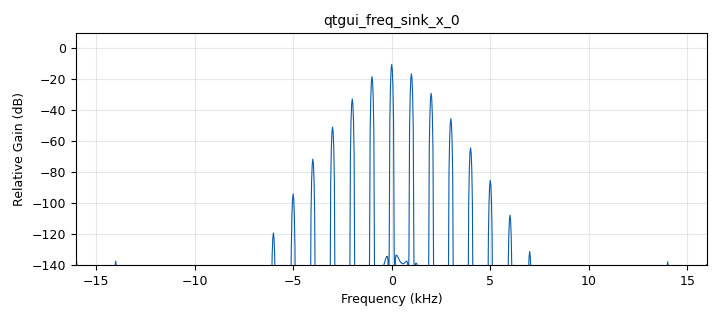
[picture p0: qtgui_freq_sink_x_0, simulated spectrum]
<?xml version='1.0' encoding='utf-8'?>
<?grc format='1' created='3.7.10'?>
<flow_graph>
<block>
<key>options</key>
<param><key>id</key><value>am_fm</value></param>
<param><key>generate_options</key><value>qt_gui</value></param>
</block>
<block>
<key>variable_qtgui_range</key>
<param><key>id</key><value>const</value></param>
<param><key>value</key><value>1</value></param>
<param><key>orient</key><value>Qt.Horizontal</value></param>
<param><key>start</key><value>-5</value></param>
<param><key>step</key><value>1</value></param>
<param><key>stop</key><value>5</value></param>
</block>
<block>
<key>variable_qtgui_range</key>
<param><key>id</key><value>delay</value></param>
<param><key>value</key><value>0</value></param>
<param><key>orient</key><value>Qt.Horizontal</value></param>
<param><key>start</key><value>-1000</value></param>
<param><key>step</key><value>1</value></param>
<param><key>stop</key><value>1000</value></param>
</block>
<block>
<key>variable_qtgui_range</key>
<param><key>id</key><value>gain</value></param>
<param><key>value</key><value>0</value></param>
<param><key>orient</key><value>Qt.Horizontal</value></param>
<param><key>start</key><value>-20</value></param>
<param><key>step</key><value>1</value></param>
<param><key>stop</key><value>20</value></param>
</block>
<block>
<key>variable</key>
<param><key>id</key><value>samp_rate</value></param>
<param><key>value</key><value>32000</value></param>
</block>
<block>
<key>analog_sig_source_x</key>
<param><key>id</key><value>analog_sig_source_x_0</value></param>
<param><key>amp</key><value>0.1</value></param>
<param><key>freq</key><value>1000</value></param>
<param><key>offset</key><value>0</value></param>
<param><key>type</key><value>float</value></param>
<param><key>samp_rate</key><value>samp_rate</value></param>
<param><key>waveform</key><value>analog.GR_COS_WAVE</value></param>
</block>
<block>
<key>analog_wfm_tx</key>
<param><key>id</key><value>analog_wfm_tx_0</value></param>
<param><key>audio_rate</key><value>int(samp_rate)</value></param>
<param><key>max_dev</key><value>75e2</value></param>
<param><key>fh</key><value>-1.0</value></param>
<param><key>quad_rate</key><value>int(samp_rate)</value></param>
<param><key>tau</key><value>75e-6</value></param>
</block>
<block>
<key>blocks_add_const_vxx</key>
<param><key>id</key><value>blocks_add_const_vxx_0</value></param>
<param><key>const</key><value>const</value></param>
<param><key>type</key><value>float</value></param>
</block>
<block>
<key>blocks_delay</key>
<param><key>id</key><value>blocks_delay_0</value></param>
<param><key>delay</key><value>0</value></param>
<param><key>type</key><value>complex</value></param>
</block>
<block>
<key>blocks_float_to_complex</key>
<param><key>id</key><value>blocks_float_to_complex_0</value></param>
</block>
<block>
<key>blocks_multiply_const_vxx</key>
<param><key>id</key><value>blocks_multiply_const_vxx_0</value></param>
<param><key>const</key><value>pow(10.0,gain/10.0)</value></param>
<param><key>type</key><value>float</value></param>
</block>
<block>
<key>blocks_multiply_xx</key>
<param><key>id</key><value>blocks_multiply_xx_0</value></param>
<param><key>type</key><value>complex</value></param>
</block>
<block>
<key>blocks_throttle</key>
<param><key>id</key><value>blocks_throttle_0</value></param>
<param><key>samples_per_second</key><value>samp_rate</value></param>
<param><key>type</key><value>complex</value></param>
</block>
<block>
<key>qtgui_freq_sink_x</key>
<param><key>id</key><value>qtgui_freq_sink_x_0</value></param>
<param><key>bw</key><value>samp_rate</value></param>
<param><key>fc</key><value>0</value></param>
<param><key>fftsize</key><value>1024</value></param>
<param><key>showports</key><value>True</value></param>
<param><key>type</key><value>complex</value></param>
<param><key>wintype</key><value>firdes.WIN_BLACKMAN_hARRIS</value></param>
</block>
<connection><source_block_id>analog_sig_source_x_0</source_block_id><sink_block_id>analog_wfm_tx_0</sink_block_id><source_key>0</source_key><sink_key>0</sink_key></connection>
<connection><source_block_id>analog_sig_source_x_0</source_block_id><sink_block_id>blocks_multiply_const_vxx_0</sink_block_id><source_key>0</source_key><sink_key>0</sink_key></connection>
<connection><source_block_id>analog_wfm_tx_0</source_block_id><sink_block_id>blocks_delay_0</sink_block_id><source_key>0</source_key><sink_key>0</sink_key></connection>
<connection><source_block_id>blocks_add_const_vxx_0</source_block_id><sink_block_id>blocks_float_to_complex_0</sink_block_id><source_key>0</source_key><sink_key>0</sink_key></connection>
<connection><source_block_id>blocks_delay_0</source_block_id><sink_block_id>blocks_multiply_xx_0</sink_block_id><source_key>0</source_key><sink_key>1</sink_key></connection>
<connection><source_block_id>blocks_float_to_complex_0</source_block_id><sink_block_id>blocks_multiply_xx_0</sink_block_id><source_key>0</source_key><sink_key>0</sink_key></connection>
<connection><source_block_id>blocks_multiply_const_vxx_0</source_block_id><sink_block_id>blocks_add_const_vxx_0</sink_block_id><source_key>0</source_key><sink_key>0</sink_key></connection>
<connection><source_block_id>blocks_multiply_xx_0</source_block_id><sink_block_id>blocks_throttle_0</sink_block_id><source_key>0</source_key><sink_key>0</sink_key></connection>
<connection><source_block_id>blocks_throttle_0</source_block_id><sink_block_id>qtgui_freq_sink_x_0</sink_block_id><source_key>0</source_key><sink_key>0</sink_key></connection>
</flow_graph>
